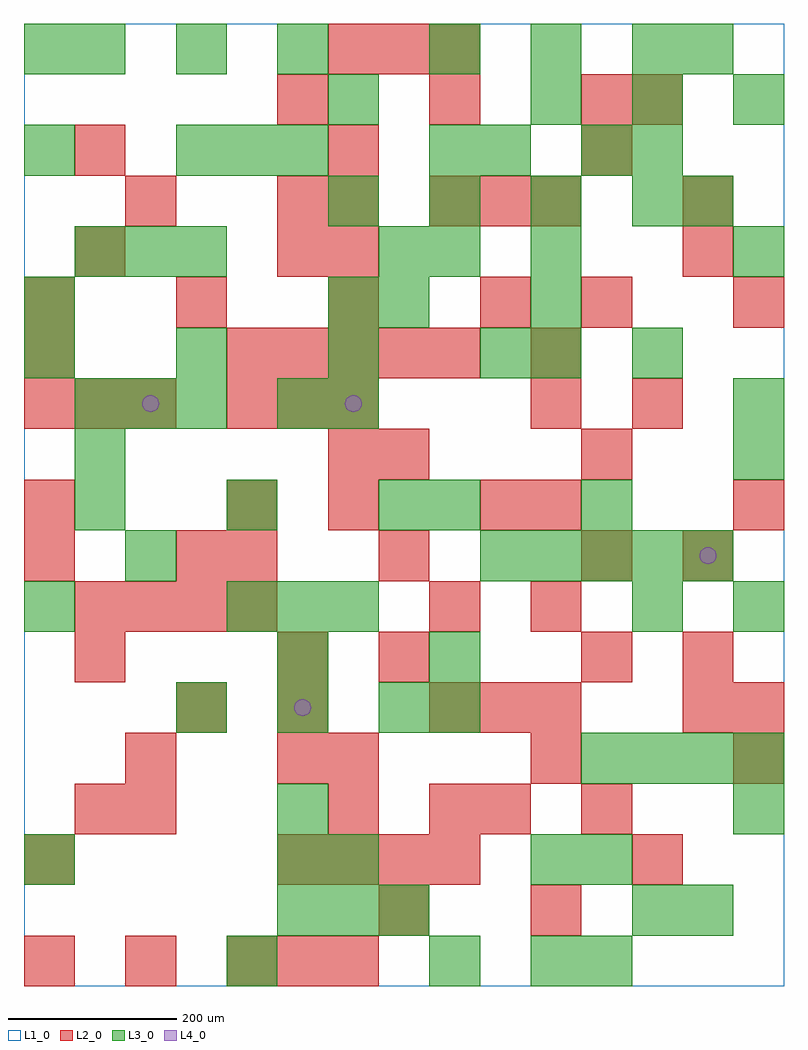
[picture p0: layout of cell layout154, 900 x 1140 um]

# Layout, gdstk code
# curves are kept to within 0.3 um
import gdstk
lib = gdstk.Library(unit=1e-6, precision=1e-09)
def R(c, l, rs):  # rectangles x0, y0, x1, y1
    for r in rs: c.add(gdstk.rectangle(r[:2], r[2:], *l))
def A(c, l, x, y, w, h, nx, ny, dx, dy):  # array of equal rectangles
    R(c, l, [(x+i*dx, y+j*dy, x+i*dx+w, y+j*dy+h) for i in range(nx) for j in range(ny)])
def P(c, l, *ps):  # polygons
    for p in ps: c.add(gdstk.Polygon(p, *l))
L1_0 = (1, 0)
L2_0 = (2, 0)
L3_0 = (3, 0)
L4_0 = (4, 0)

layout154 = lib.new_cell('layout154')
R(layout154, L1_0, [(0,0,900,1140)])
A(layout154, L2_0, 0, 0, 60, 60, 3, 1, 120, 0)
A(layout154, L2_0, 300, 120, 60, 60, 4, 1, 60, 0)
A(layout154, L2_0, 300, 240, 60, 60, 1, 3, 0, 60)
A(layout154, L2_0, 360, 240, 60, 60, 3, 1, 240, 0)
A(layout154, L2_0, 480, 300, 60, 60, 3, 2, 60, 600)
A(layout154, L2_0, 840, 300, 60, 60, 1, 3, 0, 240)
A(layout154, L2_0, 420, 360, 60, 60, 1, 3, 0, 120)
A(layout154, L2_0, 660, 360, 60, 60, 1, 3, 0, 120)
A(layout154, L2_0, 60, 420, 60, 60, 4, 1, 60, 0)
A(layout154, L2_0, 600, 420, 60, 60, 1, 3, 0, 120)
A(layout154, L2_0, 0, 660, 60, 60, 3, 1, 60, 0)
A(layout154, L2_0, 240, 660, 60, 60, 3, 1, 60, 0)
A(layout154, L2_0, 240, 720, 60, 60, 5, 1, 60, 0)
A(layout154, L2_0, 0, 780, 60, 60, 4, 1, 180, 0)
A(layout154, L2_0, 60, 960, 60, 60, 3, 1, 300, 0)
A(layout154, L2_0, 300, 1020, 60, 60, 3, 1, 180, 0)
A(layout154, L2_0, 360, 1080, 60, 60, 3, 1, 60, 0)
R(layout154, L2_0, [(300,0,360,60), (360,0,420,60), (420,60,480,120), (600,60,660,120), (0,120,60,180), (720,120,780,180), (60,180,120,240), (120,180,180,240), (360,180,420,240), (480,180,540,240), (540,180,600,240), (660,180,720,240), (120,240,180,300), (180,300,240,360), (780,300,840,360), (60,360,120,420), (780,360,840,420), (480,420,540,480), (0,480,60,540), (180,480,240,540), (240,480,300,540), (780,480,840,540), (0,540,60,600), (240,540,300,600), (360,540,420,600), (540,540,600,600), (360,600,420,660), (720,660,780,720), (0,720,60,780), (600,720,660,780), (660,780,720,840), (60,840,120,900), (300,840,360,900), (360,840,420,900), (780,840,840,900), (120,900,180,960), (300,900,360,960), (360,900,420,960), (780,900,840,960), (720,1020,780,1080)])
A(layout154, L3_0, 300, 60, 60, 60, 3, 1, 60, 0)
A(layout154, L3_0, 660, 120, 60, 60, 1, 3, 0, 420)
A(layout154, L3_0, 660, 240, 60, 60, 4, 1, 60, 0)
A(layout154, L3_0, 180, 300, 60, 60, 3, 1, 120, 0)
A(layout154, L3_0, 240, 420, 60, 60, 3, 1, 60, 0)
A(layout154, L3_0, 540, 480, 60, 60, 5, 1, 60, 0)
A(layout154, L3_0, 60, 540, 60, 60, 3, 1, 180, 0)
A(layout154, L3_0, 60, 660, 60, 60, 3, 2, 60, 180)
A(layout154, L3_0, 0, 720, 60, 60, 4, 1, 180, 0)
A(layout154, L3_0, 600, 720, 60, 60, 1, 3, 0, 60)
A(layout154, L3_0, 360, 900, 60, 60, 4, 1, 120, 0)
A(layout154, L3_0, 180, 960, 60, 60, 3, 1, 60, 0)
A(layout154, L3_0, 600, 1020, 60, 60, 3, 1, 120, 0)
A(layout154, L3_0, 60, 1080, 60, 60, 3, 1, 120, 0)
A(layout154, L3_0, 480, 1080, 60, 60, 3, 1, 120, 0)
R(layout154, L3_0, [(240,0,300,60), (480,0,540,60), (600,0,660,60), (660,0,720,60), (720,60,780,120), (780,60,840,120), (0,120,60,180), (300,120,360,180), (360,120,420,180), (600,120,660,180), (300,180,360,240), (840,180,900,240), (480,300,540,360), (300,360,360,420), (480,360,540,420), (0,420,60,480), (720,420,780,480), (840,420,900,480), (120,480,180,540), (480,540,540,600), (60,600,120,660), (840,600,900,660), (300,660,360,720), (360,660,420,720), (840,660,900,720), (720,720,780,780), (0,780,60,840), (360,780,420,840), (420,780,480,840), (420,840,480,900), (480,840,540,900), (840,840,900,900), (780,900,840,960), (0,960,60,1020), (480,960,540,1020), (540,960,600,1020), (720,960,780,1020), (360,1020,420,1080), (0,1080,60,1140), (780,1080,840,1140)])
P(layout154, L4_0, [(160,690),(159.239,693.827),(157.071,697.071),(153.827,699.239),(150,700),(146.173,699.239),(142.929,697.071),(140.761,693.827),(140,690),(140.761,686.173),(142.929,682.929),(146.173,680.761),(150,680),(153.827,680.761),(157.071,682.929),(159.239,686.173)],
  [(340,330),(339.239,333.827),(337.071,337.071),(333.827,339.239),(330,340),(326.173,339.239),(322.929,337.071),(320.761,333.827),(320,330),(320.761,326.173),(322.929,322.929),(326.173,320.761),(330,320),(333.827,320.761),(337.071,322.929),(339.239,326.173)],
  [(400,690),(399.239,693.827),(397.071,697.071),(393.827,699.239),(390,700),(386.173,699.239),(382.929,697.071),(380.761,693.827),(380,690),(380.761,686.173),(382.929,682.929),(386.173,680.761),(390,680),(393.827,680.761),(397.071,682.929),(399.239,686.173)],
  [(820,510),(819.239,513.827),(817.071,517.071),(813.827,519.239),(810,520),(806.173,519.239),(802.929,517.071),(800.761,513.827),(800,510),(800.761,506.173),(802.929,502.929),(806.173,500.761),(810,500),(813.827,500.761),(817.071,502.929),(819.239,506.173)])

lib.write_gds('layout154.gds')
